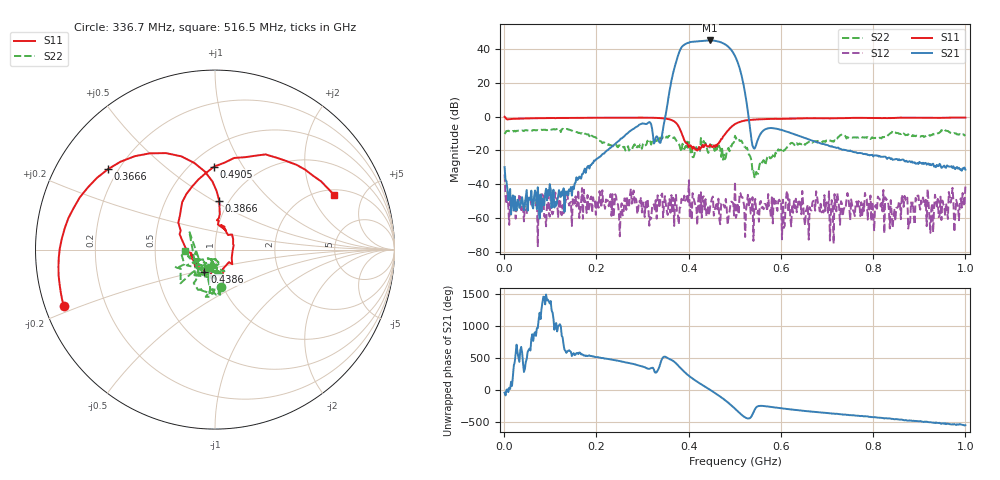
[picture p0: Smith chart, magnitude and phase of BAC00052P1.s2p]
!measured: 2026-10-27T15:21:23
!cal_instance: BBtestOct27
!cal_created: 2026-10-27T14:45
!cal_file: BBtesting.cal
!port1_delay_ps: -58.63
!port2_delay_ps: -59.31
!host: dhcp-10-250-247-203.harvard.edu
! Created with skrf 2.1.0 (http://scikit-rf.org).
# Hz S RI R 50.0
!freq ReS11 ImS11 ReS21 ImS21 ReS12 ImS12 ReS22 ImS22
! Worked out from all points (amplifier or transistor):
!   501 points, 1 MHz to 1 GHz, reference 50 ohm
!   highest |S21| = 45.1 dB at 446.6 MHz (marker M1)
!   |S21| within 3 dB of that: 388.3 MHz to 482.7 MHz (94.41 MHz wide, 21.7 % of centre)
!   unconditionally stable (mu >= 1): start of sweep to 399.7 MHz; 426.7 MHz to 500.1 MHz; 500.8 MHz to end of sweep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
!   at 166.8 MHz: K = 1856.35, MAG = -28.8 dB, |S12| = -50.7 dB
!   at 500.5 MHz: K = 0.77, MSG = 37.2 dB, |S12| = -38.6 dB
!   at 1 GHz: K = 279.60, MAG = -22.6 dB, |S12| = -41.1 dB
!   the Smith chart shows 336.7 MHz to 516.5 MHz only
!   S11 on the Smith chart (normalised r, x): 336.7 MHz: 0.05, -0.18; 366.6 MHz: 0.16, +0.33; 386.6 MHz: 0.90, +0.53; 438.6 MHz: 0.86, -0.22; 490.5 MHz: 0.64, +0.76; 516.5 MHz: 2.26, +2.95
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1000000  -0.3705 0.9103  0.0243 -0.0203  -0.019 0.00218  0.2978 -0.0552
1.68832e8  0.4831 -0.7732  -0.0183 -0.00683  -0.00178 0.00738  -0.0217 -0.3243
3.34666e8  -0.8318 -0.3528  0.1826 -0.0926  0.00298 0.00299  0.0462 -0.1739
3.36664e8  -0.8439 -0.3147  0.1674 0.0226  0.00183 0.000646  0.0348 -0.2098
3.66634e8  -0.5958 0.4483  -1.733 20.11  0.0016 0.00356  -0.068 -0.2199
3.76624e8  -0.1871 0.5195  54.27 29.25  -0.000995 -0.000769  -0.1176 -0.1202
3.86614e8  0.0236 0.273  85.33 -85.76  0.00168 0.00235  -0.1515 -0.0359
3.96604e8  0.0209 0.1608  -58.35 -136.9  -0.00048 -0.00439  -0.1573 -0.0877
4.04596e8  0.0526 0.1277  -150.4 -59.16  -0.000455 -0.00261  -0.0672 -0.0536
4.1059e8  0.0946 0.0845  -162.8 26.98  0.0017 -0.0034  -0.0404 -0.0474
4.24576e8  0.0781 -0.0698  -42.26 166.2  0.000102 0.00128  -0.0406 -0.0865
4.38562e8  -0.0589 -0.1242  132.5 118.3  -0.000111 -0.0011  -0.0481 -0.1268
4.46554e8  -0.1095 -0.0974  178.1 18.66  0.00198 0.000609  -0.0657 -0.1343
4.54546e8  -0.1292 -0.0496  150.6 -91.83  0.000892 0.000742  -0.0532 -0.1024
4.66534e8  -0.1716 0.0265  0.4367 -163.9  -0.000886 3.22e-05  -0.0297 -0.1219
4.78522e8  -0.1896 0.2267  -122.8 -62.96  0.00193 0.000442  0.00274 -0.0541
4.9051e8  -0.00467 0.4625  -73.46 69.03  -0.000612 0.00232  -0.0437 -0.1209
5.005e8  0.2816 0.5303  19.07 58.89  -0.0066 0.0097  -0.1923 -0.1881
5.16484e8  0.6626 0.3051  10.71 -7.096  -0.00197 -0.00356  -0.168 -0.00878
6.68332e8  0.00977 -0.8872  0.174 0.083  -0.00037 -0.00284  0.027 -0.1661
8.34166e8  -0.6136 -0.6581  0.011 -0.0597  -0.000717 -0.00156  -0.1819 -0.23
1e9  -0.8895 -0.2571  -0.0266 0.00282  0.0019 -0.00857  -0.2354 -0.1588
